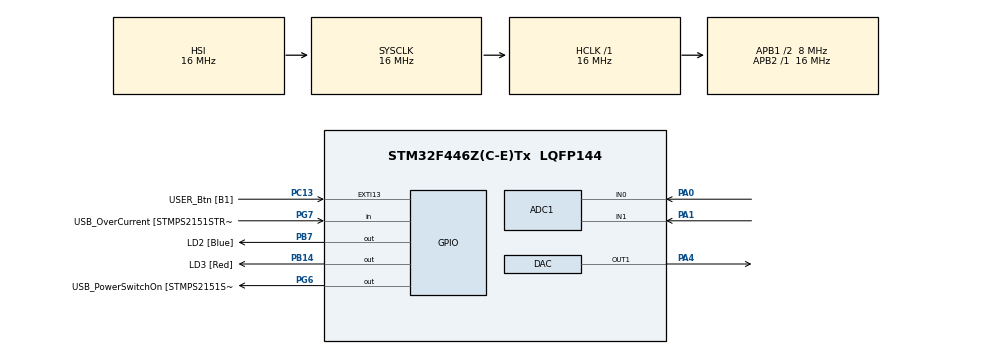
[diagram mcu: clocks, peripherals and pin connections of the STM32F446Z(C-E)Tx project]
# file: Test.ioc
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ADC1.Channel-4\#ChannelRegularConversion=ADC_CHANNEL_0
ADC1.Channel-5\#ChannelRegularConversion=ADC_CHANNEL_1
ADC1.NbrOfConversion=2
ADC1.NbrOfConversionFlag=1
ADC1.Rank-4\#ChannelRegularConversion=1
ADC1.Rank-5\#ChannelRegularConversion=2
ADC1.SamplingTime-4\#ChannelRegularConversion=ADC_SAMPLETIME_3CYCLES
ADC1.SamplingTime-5\#ChannelRegularConversion=ADC_SAMPLETIME_3CYCLES
ADC1.ScanConvMode=ENABLE
ADC1.master=1
Mcu.Family=STM32F4
Mcu.Name=STM32F446Z(C-E)Tx
Mcu.Package=LQFP144
NVIC.PriorityGroup=NVIC_PRIORITYGROUP_4
NVIC.TIM2_IRQn=true\:0\:0\:false\:false\:true
PA0-WKUP.Signal=ADCx_IN0
PA1.Signal=ADCx_IN1
PA10.GPIO_Label=USB_ID
PA10.Signal=USB_OTG_FS_ID
PA11.GPIO_Label=USB_DM
PA11.Signal=USB_OTG_FS_DM
PA12.GPIO_Label=USB_DP
PA12.Signal=USB_OTG_FS_DP
PA13.GPIO_Label=TMS
PA13.Signal=SYS_JTMS-SWDIO
PA14.GPIO_Label=TCK
PA14.Signal=SYS_JTCK-SWCLK
PA4.Signal=COMP_DAC1_group
PA8.GPIO_Label=USB_SOF [TP1]
PA8.Signal=USB_OTG_FS_SOF
PA9.GPIO_Label=USB_VBUS
PA9.Signal=USB_OTG_FS_VBUS
PB14.GPIO_Label=LD3 [Red]
PB14.Signal=GPIO_Output
PB7.GPIO_Label=LD2 [Blue]
PB7.Signal=GPIO_Output
PC13.GPIO_Label=USER_Btn [B1]
PC13.Signal=GPXTI13
PC14-OSC32_IN.Signal=RCC_OSC32_IN
PC15-OSC32_OUT.Signal=RCC_OSC32_OUT
PD8.GPIO_Label=STLK_RX [STM32F103CBT6_PA3]
PD8.Signal=USART3_TX
PD9.GPIO_Label=STLK_TX [STM32F103CBT6_PA2]
PD9.Signal=USART3_RX
PG6.GPIO_Label=USB_PowerSwitchOn [STMPS2151STR_EN]
PG6.Signal=GPIO_Output
PG7.GPIO_Label=USB_OverCurrent [STMPS2151STR_FAULT]
PG7.Signal=GPIO_Input
PH0-OSC_IN.GPIO_Label=MCO [STM32F103CBT6_PA8]
PH0-OSC_IN.Signal=RCC_OSC_IN
PH1-OSC_OUT.Signal=RCC_OSC_OUT
ProjectManager.HeapSize=0x200
ProjectManager.StackSize=0x400
ProjectManager.TargetToolchain=MDK-ARM V5
RCC.48MHZClocksFreq_Value=24000000
RCC.AHBFreq_Value=16000000
RCC.APB1CLKDivider=RCC_HCLK_DIV2
RCC.APB1Freq_Value=8000000
RCC.APB1TimFreq_Value=16000000
RCC.APB2Freq_Value=16000000
RCC.APB2TimFreq_Value=16000000
RCC.CortexFreq_Value=16000000
RCC.HCLKFreq_Value=16000000
RCC.HSE_VALUE=8000000
RCC.HSI_VALUE=16000000
RCC.LSE_VALUE=32768
RCC.PLLMUL=RCC_PLL_MUL9
RCC.PRESCALERUSB=RCC_USBCLKSOURCE_PLL_DIV1_5
RCC.SYSCLKFreq_VALUE=16000000
RCC.SYSCLKSourceVirtual=RCC_SYSCLKSOURCE_PLLCLK
RCC.USBFreq_Value=96000000
RCC.VCOOutputFreq_Value=192000000
SH.ADCx_IN0.0=ADC1_IN0,IN0
SH.ADCx_IN1.0=ADC1_IN1,IN1
SH.COMP_DAC1_group.0=DAC_OUT1,DAC_OUT1
TIM2.Period=4294967295
TIM2.Prescaler=65535
VP_TIM2_VS_ClockSourceINT.Mode=Internal
board=NUCLEO-F446ZE

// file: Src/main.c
/**
  ******************************************************************************
  * File Name          : main.c
  * Description        : Main program body
  ******************************************************************************
  ** This notice applies to any and all portions of this file
  * that are not between comment pairs USER CODE BEGIN and
  * USER CODE END. Other portions of this file, whether
  * inserted by the user or by software development tools
  * are owned by their respective copyright owners.
  *
  * COPYRIGHT(c) 2017 STMicroelectronics
  *
  * Redistribution and use in source and binary forms, with or without modification,
  * are permitted provided that the following conditions are met:
  *   1. Redistributions of source code must retain the above copyright notice,
  *      this list of conditions and the following disclaimer.
  *   2. Redistributions in binary form must reproduce the above copyright notice,
  *      this list of conditions and the following disclaimer in the documentation
  *      and/or other materials provided with the distribution.
  *   3. Neither the name of STMicroelectronics nor the names of its contributors
  *      may be used to endorse or promote products derived from this software
  *      without specific prior written permission.
  *
  * THIS SOFTWARE IS PROVIDED BY THE COPYRIGHT HOLDERS AND CONTRIBUTORS "AS IS"
  * AND ANY EXPRESS OR IMPLIED WARRANTIES, INCLUDING, BUT NOT LIMITED TO, THE
  * IMPLIED WARRANTIES OF MERCHANTABILITY AND FITNESS FOR A PARTICULAR PURPOSE ARE
  * DISCLAIMED. IN NO EVENT SHALL THE COPYRIGHT HOLDER OR CONTRIBUTORS BE LIABLE
  * FOR ANY DIRECT, INDIRECT, INCIDENTAL, SPECIAL, EXEMPLARY, OR CONSEQUENTIAL
  * DAMAGES (INCLUDING, BUT NOT LIMITED TO, PROCUREMENT OF SUBSTITUTE GOODS OR
  * SERVICES; LOSS OF USE, DATA, OR PROFITS; OR BUSINESS INTERRUPTION) HOWEVER
  * CAUSED AND ON ANY THEORY OF LIABILITY, WHETHER IN CONTRACT, STRICT LIABILITY,
  * OR TORT (INCLUDING NEGLIGENCE OR OTHERWISE) ARISING IN ANY WAY OUT OF THE USE
  * OF THIS SOFTWARE, EVEN IF ADVISED OF THE POSSIBILITY OF SUCH DAMAGE.
  *
  ******************************************************************************
  */
#include "main.h"
#include "stm32f4xx_hal.h"
#include "adc.h"
#include "dac.h"
#include "tim.h"
#include "gpio.h"

/* USER CODE BEGIN Includes */
#include "arm_math.h"
/* USER CODE END Includes */

/* USER CODE BEGIN PV */
/* Private variables ---------------------------------------------------------*/

/* USER CODE END PV */

void SystemClock_Config(void);
void PID_Loop(uint16_t PID_error);

/* USER CODE BEGIN PFP */
/* Private function prototypes -----------------------------------------------*/
#define PID_PARAM_KP		100			/* Proporcional */
#define PID_PARAM_KI		0.025		/* Integral */
#define PID_PARAM_KD		20			/* Derivative */

/* USER CODE END PFP */

/* USER CODE BEGIN 0 */
uint8_t adcIndx = 0;
uint16_t ADC_raw[2];
uint16_t PotVal = 0;
uint16_t TempVal = 0;
float32_t PID_Out = 0;
arm_pid_instance_f32 PID;

/* USER CODE END 0 */

int main(void)
{

  /* MCU Configuration----------------------------------------------------------*/

  /* Reset of all peripherals, Initializes the Flash interface and the Systick. */
  HAL_Init();

  /* Configure the system clock */
  SystemClock_Config();

  /* USER CODE BEGIN SysInit */
	/* ARM PID Instance, float_32 format */

  /* USER CODE END SysInit */

  /* Initialize all configured peripherals */
  MX_GPIO_Init();
  MX_TIM2_Init();
  MX_ADC1_Init();
  MX_DAC_Init();

  /* USER CODE BEGIN 2 */
	/* Set PID parameters */
	/* Set this for your needs */
	PID.Kp = PID_PARAM_KP;		/* Proporcional */
	PID.Ki = PID_PARAM_KI;		/* Integral */
	PID.Kd = PID_PARAM_KD;		/* Derivative */
	arm_pid_init_f32(&PID, 1);

	HAL_TIM_Base_Start_IT(&htim2);

  /* USER CODE END 2 */

  /* Infinite loop */
  while (1)
  {

  }

}

/** System Clock Configuration
*/
void SystemClock_Config(void)
{

  RCC_OscInitTypeDef RCC_OscInitStruct;
  RCC_ClkInitTypeDef RCC_ClkInitStruct;

    /**Configure the main internal regulator output voltage
    */
  __HAL_RCC_PWR_CLK_ENABLE();

  __HAL_PWR_VOLTAGESCALING_CONFIG(PWR_REGULATOR_VOLTAGE_SCALE3);

    /**Initializes the CPU, AHB and APB busses clocks
    */
  RCC_OscInitStruct.OscillatorType = RCC_OSCILLATORTYPE_HSI;
  RCC_OscInitStruct.HSIState = RCC_HSI_ON;
  RCC_OscInitStruct.HSICalibrationValue = 16;
  RCC_OscInitStruct.PLL.PLLState = RCC_PLL_NONE;
  if (HAL_RCC_OscConfig(&RCC_OscInitStruct) != HAL_OK)
  {
    _Error_Handler(__FILE__, __LINE__);
  }

    /**Initializes the CPU, AHB and APB busses clocks
    */
  RCC_ClkInitStruct.ClockType = RCC_CLOCKTYPE_HCLK|RCC_CLOCKTYPE_SYSCLK
                              |RCC_CLOCKTYPE_PCLK1|RCC_CLOCKTYPE_PCLK2;
  RCC_ClkInitStruct.SYSCLKSource = RCC_SYSCLKSOURCE_HSI;
  RCC_ClkInitStruct.AHBCLKDivider = RCC_SYSCLK_DIV1;
  RCC_ClkInitStruct.APB1CLKDivider = RCC_HCLK_DIV2;
  RCC_ClkInitStruct.APB2CLKDivider = RCC_HCLK_DIV1;

  if (HAL_RCC_ClockConfig(&RCC_ClkInitStruct, FLASH_LATENCY_0) != HAL_OK)
  {
    _Error_Handler(__FILE__, __LINE__);
  }

    /**Configure the Systick interrupt time
    */
  HAL_SYSTICK_Config(HAL_RCC_GetHCLKFreq()/1000);

    /**Configure the Systick
    */
  HAL_SYSTICK_CLKSourceConfig(SYSTICK_CLKSOURCE_HCLK);

  /* SysTick_IRQn interrupt configuration */
  HAL_NVIC_SetPriority(SysTick_IRQn, 0, 0);
}

/* USER CODE BEGIN 4 */

void HAL_TIM_PeriodElapsedCallback(TIM_HandleTypeDef *htim){
	if(htim->Instance==TIM2){
		HAL_ADC_Start_IT(&hadc1);
	}
}

void HAL_ADC_ConvCpltCallback(ADC_HandleTypeDef* hadc1)
{
	if (__HAL_ADC_GET_FLAG(hadc1, ADC_FLAG_EOC)){
		ADC_raw[adcIndx] = HAL_ADC_GetValue(hadc1);
		adcIndx++;
	}
	if (__HAL_ADC_GET_FLAG(hadc1, ADC_FLAG_JEOC)){
		adcIndx = 0;

		PotVal = ADC_raw[0]*10;
		TempVal = (ADC_raw[1]*0.1)-72.5;
		HAL_ADC_Stop_IT(hadc1);
		PID_Loop(PotVal-TempVal);
	}
}

void PID_Loop(uint16_t PID_error){
	PID_Out = arm_pid_f32(&PID, PID_error);

}

/* USER CODE END 4 */

void _Error_Handler(char * file, int line)
{
  while(1)
  {
  }
}

/************************ (C) COPYRIGHT STMicroelectronics *****END OF FILE****/
